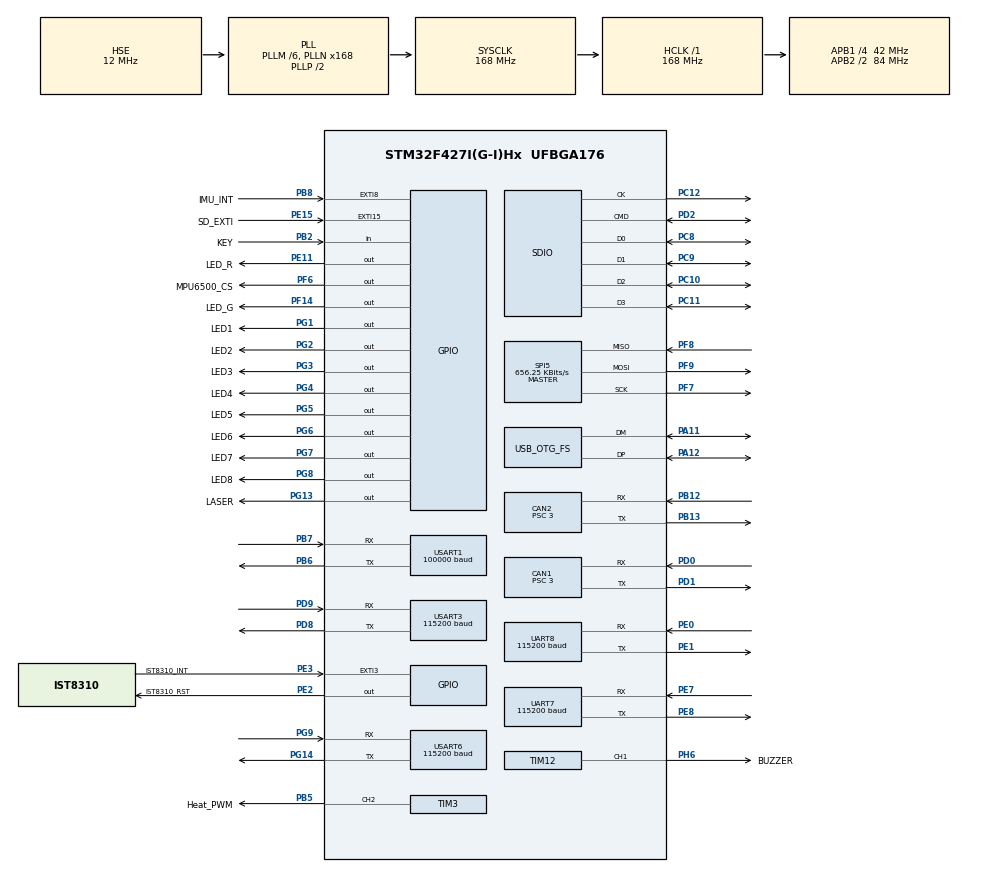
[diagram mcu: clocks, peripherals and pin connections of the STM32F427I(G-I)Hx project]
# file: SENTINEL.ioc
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CAN1.BS1=CAN_BS1_10TQ
CAN1.BS2=CAN_BS2_3TQ
CAN1.CalculateBaudRate=1000000
CAN1.CalculateTimeQuantum=71.42857142857143
CAN1.Prescaler=3
CAN2.BS1=CAN_BS1_10TQ
CAN2.BS2=CAN_BS2_3TQ
CAN2.CalculateBaudRate=1000000
CAN2.CalculateTimeQuantum=71.42857142857143
CAN2.Prescaler=3
Dma.Request0=USART1_RX
Dma.Request1=UART7_RX
Dma.Request2=UART7_TX
Dma.Request3=SDIO_RX
Dma.Request4=SDIO_TX
Dma.Request5=SPI5_RX
Dma.Request6=SPI5_TX
Dma.SDIO_RX.3.Direction=DMA_PERIPH_TO_MEMORY
Dma.SDIO_RX.3.FIFOMode=DMA_FIFOMODE_DISABLE
Dma.SDIO_RX.3.Instance=DMA2_Stream3
Dma.SDIO_RX.3.MemDataAlignment=DMA_MDATAALIGN_WORD
Dma.SDIO_RX.3.MemInc=DMA_MINC_ENABLE
Dma.SDIO_RX.3.Mode=DMA_PFCTRL
Dma.SDIO_RX.3.PeriphDataAlignment=DMA_PDATAALIGN_WORD
Dma.SDIO_RX.3.PeriphInc=DMA_PINC_DISABLE
Dma.SDIO_RX.3.Priority=DMA_PRIORITY_VERY_HIGH
Dma.SDIO_TX.4.Direction=DMA_MEMORY_TO_PERIPH
Dma.SDIO_TX.4.FIFOMode=DMA_FIFOMODE_DISABLE
Dma.SDIO_TX.4.Instance=DMA2_Stream6
Dma.SDIO_TX.4.MemDataAlignment=DMA_MDATAALIGN_WORD
Dma.SDIO_TX.4.MemInc=DMA_MINC_ENABLE
Dma.SDIO_TX.4.Mode=DMA_PFCTRL
Dma.SDIO_TX.4.PeriphDataAlignment=DMA_PDATAALIGN_WORD
Dma.SDIO_TX.4.PeriphInc=DMA_PINC_DISABLE
Dma.SDIO_TX.4.Priority=DMA_PRIORITY_VERY_HIGH
Dma.UART7_RX.1.Direction=DMA_PERIPH_TO_MEMORY
Dma.UART7_RX.1.FIFOMode=DMA_FIFOMODE_DISABLE
Dma.UART7_RX.1.Instance=DMA1_Stream3
Dma.UART7_RX.1.MemDataAlignment=DMA_MDATAALIGN_BYTE
Dma.UART7_RX.1.MemInc=DMA_MINC_ENABLE
Dma.UART7_RX.1.Mode=DMA_CIRCULAR
Dma.UART7_RX.1.PeriphDataAlignment=DMA_PDATAALIGN_BYTE
Dma.UART7_RX.1.PeriphInc=DMA_PINC_DISABLE
Dma.UART7_RX.1.Priority=DMA_PRIORITY_HIGH
Dma.UART7_TX.2.Direction=DMA_MEMORY_TO_PERIPH
Dma.UART7_TX.2.FIFOMode=DMA_FIFOMODE_DISABLE
Dma.UART7_TX.2.Instance=DMA1_Stream1
Dma.UART7_TX.2.MemDataAlignment=DMA_MDATAALIGN_BYTE
Dma.UART7_TX.2.MemInc=DMA_MINC_ENABLE
Dma.UART7_TX.2.Mode=DMA_NORMAL
Dma.UART7_TX.2.PeriphDataAlignment=DMA_PDATAALIGN_BYTE
Dma.UART7_TX.2.PeriphInc=DMA_PINC_DISABLE
Dma.UART7_TX.2.Priority=DMA_PRIORITY_HIGH
Dma.USART1_RX.0.Direction=DMA_PERIPH_TO_MEMORY
Dma.USART1_RX.0.FIFOMode=DMA_FIFOMODE_DISABLE
Dma.USART1_RX.0.Instance=DMA2_Stream2
Dma.USART1_RX.0.MemDataAlignment=DMA_MDATAALIGN_BYTE
Dma.USART1_RX.0.MemInc=DMA_MINC_ENABLE
Dma.USART1_RX.0.Mode=DMA_NORMAL
Dma.USART1_RX.0.PeriphDataAlignment=DMA_PDATAALIGN_BYTE
Dma.USART1_RX.0.PeriphInc=DMA_PINC_DISABLE
Dma.USART1_RX.0.Priority=DMA_PRIORITY_VERY_HIGH
Dma.SPI5_RX.5.Direction=DMA_PERIPH_TO_MEMORY
Dma.SPI5_RX.5.FIFOMode=DMA_FIFOMODE_DISABLE
Dma.SPI5_RX.5.Instance=DMA2_Stream5
Dma.SPI5_RX.5.MemDataAlignment=DMA_MDATAALIGN_BYTE
Dma.SPI5_RX.5.MemInc=DMA_MINC_ENABLE
Dma.SPI5_RX.5.Mode=DMA_NORMAL
Dma.SPI5_RX.5.PeriphDataAlignment=DMA_PDATAALIGN_BYTE
Dma.SPI5_RX.5.PeriphInc=DMA_PINC_DISABLE
Dma.SPI5_RX.5.Priority=DMA_PRIORITY_HIGH
Dma.SPI5_TX.6.Direction=DMA_MEMORY_TO_PERIPH
Dma.SPI5_TX.6.FIFOMode=DMA_FIFOMODE_DISABLE
Dma.SPI5_TX.6.Instance=DMA2_Stream4
Dma.SPI5_TX.6.MemDataAlignment=DMA_MDATAALIGN_BYTE
Dma.SPI5_TX.6.MemInc=DMA_MINC_ENABLE
Dma.SPI5_TX.6.Mode=DMA_NORMAL
Dma.SPI5_TX.6.PeriphDataAlignment=DMA_PDATAALIGN_BYTE
Dma.SPI5_TX.6.PeriphInc=DMA_PINC_DISABLE
Dma.SPI5_TX.6.Priority=DMA_PRIORITY_HIGH
FREERTOS.INCLUDE_eTaskGetState=1
FREERTOS.INCLUDE_pcTaskGetTaskName=1
FREERTOS.INCLUDE_uxTaskGetStackHighWaterMark=1
FREERTOS.INCLUDE_vTaskCleanUpResources=1
FREERTOS.INCLUDE_vTaskDelayUntil=1
FREERTOS.INCLUDE_xEventGroupSetBitFromISR=1
FREERTOS.INCLUDE_xQueueGetMutexHolder=1
FREERTOS.INCLUDE_xSemaphoreGetMutexHolder=1
FREERTOS.INCLUDE_xTaskAbortDelay=1
FREERTOS.INCLUDE_xTaskGetCurrentTaskHandle=1
FREERTOS.INCLUDE_xTaskGetHandle=1
FREERTOS.INCLUDE_xTimerPendFunctionCall=1
FREERTOS.Tasks01=defaultTask,0,256,StartDefaultTask,Default,NULL,Dynamic,NULL,NULL
FREERTOS.configTOTAL_HEAP_SIZE=40960
Mcu.Family=STM32F4
Mcu.Name=STM32F427I(G-I)Hx
Mcu.Package=UFBGA176
NVIC.CAN1_RX0_IRQn=true\:6\:0\:true\:false\:true\:true\:true\:true\:true
NVIC.CAN2_RX0_IRQn=true\:6\:0\:true\:false\:true\:true\:true\:true\:true
NVIC.DMA1_Stream1_IRQn=true\:5\:0\:true\:false\:false\:true\:false\:false\:true
NVIC.DMA1_Stream3_IRQn=true\:5\:0\:true\:false\:false\:true\:false\:true\:true
NVIC.DMA2_Stream3_IRQn=true\:5\:0\:true\:false\:false\:true\:false\:true\:true
NVIC.DMA2_Stream5_IRQn=true\:5\:0\:false\:false\:true\:true\:false\:true\:true
NVIC.DMA2_Stream6_IRQn=true\:5\:0\:true\:false\:true\:true\:false\:true\:true
NVIC.EXTI15_10_IRQn=true\:5\:0\:true\:false\:true\:true\:true\:true\:true
NVIC.EXTI3_IRQn=true\:5\:0\:true\:false\:true\:true\:true\:true\:true
NVIC.EXTI9_5_IRQn=true\:5\:0\:true\:false\:true\:true\:true\:true\:true
NVIC.OTG_FS_IRQn=true\:5\:0\:false\:false\:true\:true\:false\:true\:true
NVIC.PriorityGroup=NVIC_PRIORITYGROUP_4
NVIC.SDIO_IRQn=true\:5\:0\:false\:false\:true\:true\:true\:true\:true
NVIC.TIM6_DAC_IRQn=true\:15\:0\:false\:false\:true\:false\:false\:true\:true
NVIC.TimeBase=TIM6_DAC_IRQn
NVIC.TimeBaseIP=TIM6
NVIC.UART7_IRQn=true\:5\:0\:true\:false\:true\:false\:true\:true\:true
NVIC.USART1_IRQn=true\:5\:0\:false\:false\:true\:true\:true\:true\:true
PA11.Mode=Device_Only
PA11.Signal=USB_OTG_FS_DM
PA12.Mode=Device_Only
PA12.Signal=USB_OTG_FS_DP
PA13.Mode=Serial_Wire
PA13.Signal=SYS_JTMS-SWDIO
PA14.Mode=Serial_Wire
PA14.Signal=SYS_JTCK-SWCLK
PB12.Mode=CAN_Activate
PB12.Signal=CAN2_RX
PB13.Mode=CAN_Activate
PB13.Signal=CAN2_TX
PB2/BOOT1.GPIO_Label=KEY
PB2/BOOT1.GPIO_PuPd=GPIO_PULLDOWN
PB2/BOOT1.Signal=GPIO_Input
PB5.GPIO_Label=Heat_PWM
PB5.GPIO_PuPd=GPIO_NOPULL
PB5.GPIO_Speed=GPIO_SPEED_FREQ_LOW
PB5.Signal=S_TIM3_CH2
PB6.Mode=Asynchronous
PB6.Signal=USART1_TX
PB7.Mode=Asynchronous
PB7.Signal=USART1_RX
PB8.GPIO_Label=IMU_INT
PB8.GPIO_ModeDefaultEXTI=GPIO_MODE_IT_RISING
PB8.GPIO_PuPd=GPIO_PULLUP
PB8.Signal=GPXTI8
PC10.GPIO_PuPd=GPIO_PULLUP
PC10.GPIO_Speed=GPIO_SPEED_FREQ_VERY_HIGH
PC10.Mode=SD_4_bits_Wide_bus
PC10.Signal=SDIO_D2
PC11.GPIO_PuPd=GPIO_PULLUP
PC11.GPIO_Speed=GPIO_SPEED_FREQ_VERY_HIGH
PC11.Mode=SD_4_bits_Wide_bus
PC11.Signal=SDIO_D3
PC12.GPIO_PuPd=GPIO_PULLUP
PC12.GPIO_Speed=GPIO_SPEED_FREQ_VERY_HIGH
PC12.Mode=SD_4_bits_Wide_bus
PC12.Signal=SDIO_CK
PC8.GPIO_PuPd=GPIO_PULLUP
PC8.GPIO_Speed=GPIO_SPEED_FREQ_VERY_HIGH
PC8.Mode=SD_4_bits_Wide_bus
PC8.Signal=SDIO_D0
PC9.GPIO_PuPd=GPIO_PULLUP
PC9.GPIO_Speed=GPIO_SPEED_FREQ_VERY_HIGH
PC9.Mode=SD_4_bits_Wide_bus
PC9.Signal=SDIO_D1
PD0.Mode=CAN_Activate
PD0.Signal=CAN1_RX
PD1.Mode=CAN_Activate
PD1.Signal=CAN1_TX
PD2.GPIO_PuPd=GPIO_PULLUP
PD2.GPIO_Speed=GPIO_SPEED_FREQ_VERY_HIGH
PD2.Mode=SD_4_bits_Wide_bus
PD2.Signal=SDIO_CMD
PD8.GPIO_PuPd=GPIO_PULLUP
PD8.Mode=Asynchronous
PD8.Signal=USART3_TX
PD9.GPIO_PuPd=GPIO_PULLUP
PD9.Mode=Asynchronous
PD9.Signal=USART3_RX
PE0.GPIO_PuPd=GPIO_PULLUP
PE0.Mode=Asynchronous
PE0.Signal=UART8_RX
PE1.GPIO_PuPd=GPIO_PULLUP
PE1.Mode=Asynchronous
PE1.Signal=UART8_TX
PE11.GPIO_Label=LED_R
PE11.GPIO_PuPd=GPIO_NOPULL
PE11.GPIO_Speed=GPIO_SPEED_FREQ_LOW
PE11.PinState=GPIO_PIN_SET
PE11.Signal=GPIO_Output
PE15.GPIO_Label=SD_EXTI
PE15.GPIO_ModeDefaultEXTI=GPIO_MODE_IT_RISING_FALLING
PE15.GPIO_PuPd=GPIO_PULLUP
PE15.Signal=GPXTI15
PE2.GPIO_Label=IST8310_RST
PE2.GPIO_PuPd=GPIO_NOPULL
PE2.GPIO_Speed=GPIO_SPEED_FREQ_LOW
PE2.PinState=GPIO_PIN_SET
PE2.Signal=GPIO_Output
PE3.GPIO_Label=IST8310_INT
PE3.GPIO_ModeDefaultEXTI=GPIO_MODE_IT_FALLING
PE3.GPIO_PuPd=GPIO_PULLUP
PE3.Signal=GPXTI3
PE7.GPIO_PuPd=GPIO_PULLUP
PE7.Mode=Asynchronous
PE7.Signal=UART7_RX
PE8.GPIO_PuPd=GPIO_PULLUP
PE8.Mode=Asynchronous
PE8.Signal=UART7_TX
PF14.GPIO_Label=LED_G
PF14.GPIO_PuPd=GPIO_NOPULL
PF14.GPIO_Speed=GPIO_SPEED_FREQ_LOW
PF14.PinState=GPIO_PIN_SET
PF14.Signal=GPIO_Output
PF6.GPIO_Label=MPU6500_CS
PF6.GPIO_PuPd=GPIO_PULLUP
PF6.GPIO_Speed=GPIO_SPEED_FREQ_MEDIUM
PF6.PinState=GPIO_PIN_SET
PF6.Signal=GPIO_Output
PF7.GPIO_PuPd=GPIO_NOPULL
PF7.Mode=Full_Duplex_Master
PF7.Signal=SPI5_SCK
PF8.GPIO_PuPd=GPIO_NOPULL
PF8.Mode=Full_Duplex_Master
PF8.Signal=SPI5_MISO
PF9.GPIO_PuPd=GPIO_NOPULL
PF9.Mode=Full_Duplex_Master
PF9.Signal=SPI5_MOSI
PG1.GPIO_Label=LED1
PG1.GPIO_PuPd=GPIO_NOPULL
PG1.GPIO_Speed=GPIO_SPEED_FREQ_LOW
PG1.PinState=GPIO_PIN_SET
PG1.Signal=GPIO_Output
PG13.GPIO_Label=LASER
PG13.GPIO_PuPd=GPIO_NOPULL
PG13.GPIO_Speed=GPIO_SPEED_FREQ_LOW
PG13.PinState=GPIO_PIN_RESET
PG13.Signal=GPIO_Output
PG14.GPIO_PuPd=GPIO_PULLUP
PG14.Mode=Asynchronous
PG14.Signal=USART6_TX
PG2.GPIO_Label=LED2
PG2.GPIO_PuPd=GPIO_NOPULL
PG2.GPIO_Speed=GPIO_SPEED_FREQ_LOW
PG2.PinState=GPIO_PIN_SET
PG2.Signal=GPIO_Output
PG3.GPIO_Label=LED3
PG3.GPIO_PuPd=GPIO_NOPULL
PG3.GPIO_Speed=GPIO_SPEED_FREQ_LOW
PG3.PinState=GPIO_PIN_SET
PG3.Signal=GPIO_Output
PG4.GPIO_Label=LED4
PG4.GPIO_PuPd=GPIO_NOPULL
PG4.GPIO_Speed=GPIO_SPEED_FREQ_LOW
PG4.PinState=GPIO_PIN_SET
PG4.Signal=GPIO_Output
PG5.GPIO_Label=LED5
PG5.GPIO_PuPd=GPIO_NOPULL
PG5.GPIO_Speed=GPIO_SPEED_FREQ_LOW
PG5.PinState=GPIO_PIN_SET
PG5.Signal=GPIO_Output
PG6.GPIO_Label=LED6
PG6.GPIO_PuPd=GPIO_NOPULL
PG6.GPIO_Speed=GPIO_SPEED_FREQ_LOW
PG6.PinState=GPIO_PIN_SET
PG6.Signal=GPIO_Output
PG7.GPIO_Label=LED7
PG7.GPIO_PuPd=GPIO_NOPULL
PG7.GPIO_Speed=GPIO_SPEED_FREQ_LOW
PG7.PinState=GPIO_PIN_SET
PG7.Signal=GPIO_Output
PG8.GPIO_Label=LED8
PG8.GPIO_PuPd=GPIO_NOPULL
PG8.GPIO_Speed=GPIO_SPEED_FREQ_LOW
PG8.PinState=GPIO_PIN_SET
PG8.Signal=GPIO_Output
PG9.GPIO_PuPd=GPIO_PULLUP
PG9.Mode=Asynchronous
PG9.Signal=USART6_RX
PH0/OSC_IN.Mode=HSE-External-Oscillator
PH0/OSC_IN.Signal=RCC_OSC_IN
PH1/OSC_OUT.Mode=HSE-External-Oscillator
PH1/OSC_OUT.Signal=RCC_OSC_OUT
PH6.GPIO_Label=BUZZER
PH6.GPIO_PuPd=GPIO_NOPULL
PH6.GPIO_Speed=GPIO_SPEED_FREQ_VERY_HIGH
PH6.Signal=S_TIM12_CH1
ProjectManager.HeapSize=0x200
ProjectManager.StackSize=0x400
ProjectManager.TargetToolchain=MDK-ARM V5
RCC.48MHZClocksFreq_Value=48000000
RCC.AHBFreq_Value=168000000
RCC.APB1CLKDivider=RCC_HCLK_DIV4
RCC.APB1Freq_Value=42000000
RCC.APB1TimFreq_Value=84000000
RCC.APB2CLKDivider=RCC_HCLK_DIV2
RCC.APB2Freq_Value=84000000
RCC.APB2TimFreq_Value=168000000
RCC.CortexFreq_Value=168000000
RCC.HCLKFreq_Value=168000000
RCC.HSE_VALUE=12000000
RCC.HSI_VALUE=16000000
RCC.LSE_VALUE=32768
RCC.PLLM=6
RCC.PLLN=168
RCC.PLLQ=7
RCC.SYSCLKFreq_VALUE=168000000
RCC.SYSCLKSource=RCC_SYSCLKSOURCE_PLLCLK
RCC.VCOOutputFreq_Value=336000000
SDIO.ClockDiv=0
SH.S_TIM12_CH1.0=TIM12_CH1,PWM Generation1 CH1
SH.S_TIM3_CH2.0=TIM3_CH2,PWM Generation2 CH2
SPI5.BaudRatePrescaler=SPI_BAUDRATEPRESCALER_128
SPI5.CLKPhase=SPI_PHASE_1EDGE
SPI5.CLKPolarity=SPI_POLARITY_LOW
SPI5.CalculateBaudRate=656.25 KBits/s
SPI5.Direction=SPI_DIRECTION_2LINES
SPI5.Mode=SPI_MODE_MASTER
SPI5.VirtualType=VM_MASTER
TIM12.Channel-PWM\ Generation1\ CH1=TIM_CHANNEL_1
TIM12.Period=369
TIM12.Prescaler=83
TIM12.Pulse-PWM\ Generation1\ CH1=0
TIM3.Channel-PWM\ Generation2\ CH2=TIM_CHANNEL_2
TIM3.Period=49
TIM3.Prescaler=83
TIM3.Pulse-PWM\ Generation2\ CH2=0
UART7.BaudRate=115200
UART7.VirtualMode=Asynchronous
UART8.BaudRate=115200
UART8.VirtualMode=Asynchronous
USART1.BaudRate=100000
USART1.Parity=PARITY_EVEN
USART1.VirtualMode=VM_ASYNC
USART3.BaudRate=115200
USART3.VirtualMode=VM_ASYNC
USART6.BaudRate=115200
USART6.VirtualMode=VM_ASYNC
USB_DEVICE.CLASS_NAME_FS=CDC
USB_DEVICE.VirtualMode-CDC_FS=Cdc
USB_DEVICE.VirtualModeFS=Cdc_FS
USB_OTG_FS.VirtualMode=Device_Only
VP_FREERTOS_VS_CMSIS_V1.Mode=CMSIS_V1
VP_SYS_VS_tim6.Mode=TIM6
VP_USB_DEVICE_VS_USB_DEVICE_CDC_FS.Mode=CDC_FS
board=custom

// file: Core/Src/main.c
/* USER CODE BEGIN Header */
/**
  ******************************************************************************
  * @file           : main.c
  * @brief          : Main program body
  ******************************************************************************
  * @attention
  *
  * Copyright (c) 2026 STMicroelectronics.
  * All rights reserved.
  *
  * This software is licensed under terms that can be found in the LICENSE file
  * in the root directory of this software component.
  * If no LICENSE file comes with this software, it is provided AS-IS.
  *
  ******************************************************************************
  */
/* USER CODE END Header */
#include "main.h"
#include "cmsis_os.h"
#include "can.h"
#include "dma.h"
#include "sdio.h"
#include "spi.h"
#include "tim.h"
#include "usart.h"
#include "usb_device.h"
#include "gpio.h"

/* USER CODE BEGIN Includes */
#include "config.h"
#include "bsp_buzzer.h"
#include "bsp_can.h"
#include "remote_control.h"

/* USER CODE END Includes */

void SystemClock_Config(void);
void MX_FREERTOS_Init(void);

int main(void)
{

  /* MCU Configuration--------------------------------------------------------*/

  /* Reset of all peripherals, Initializes the Flash interface and the Systick. */
  HAL_Init();

  /* Configure the system clock */
  SystemClock_Config();

  /* Initialize all configured peripherals */
  MX_GPIO_Init();
  MX_DMA_Init();
  MX_CAN1_Init();
  MX_CAN2_Init();
  MX_USART1_UART_Init();
  MX_USART3_UART_Init();
  MX_USART6_UART_Init();
  MX_UART7_Init();
  MX_UART8_Init();
  MX_SPI5_Init();
  MX_SDIO_SD_Init();
  MX_TIM3_Init();
  MX_TIM12_Init();
  /* USER CODE BEGIN 2 */
  can_filter_init();
  buzzer_set_enable(g_config.buzzer.enable);
  remote_control_init();

  /* USER CODE END 2 */

  /* Call init function for freertos objects (in cmsis_os2.c) */
  MX_FREERTOS_Init();

  /* Start scheduler */
  osKernelStart();

  /* We should never get here as control is now taken by the scheduler */

  /* Infinite loop */
  while (1)
  {

  }
}

void SystemClock_Config(void)
{
  RCC_OscInitTypeDef RCC_OscInitStruct = {0};
  RCC_ClkInitTypeDef RCC_ClkInitStruct = {0};

  /** Configure the main internal regulator output voltage
  */
  __HAL_RCC_PWR_CLK_ENABLE();
  __HAL_PWR_VOLTAGESCALING_CONFIG(PWR_REGULATOR_VOLTAGE_SCALE1);

  /** Initializes the RCC Oscillators according to the specified parameters
  * in the RCC_OscInitTypeDef structure.
  */
  RCC_OscInitStruct.OscillatorType = RCC_OSCILLATORTYPE_HSE;
  RCC_OscInitStruct.HSEState = RCC_HSE_ON;
  RCC_OscInitStruct.PLL.PLLState = RCC_PLL_ON;
  RCC_OscInitStruct.PLL.PLLSource = RCC_PLLSOURCE_HSE;
  RCC_OscInitStruct.PLL.PLLM = 6;
  RCC_OscInitStruct.PLL.PLLN = 168;
  RCC_OscInitStruct.PLL.PLLP = RCC_PLLP_DIV2;
  RCC_OscInitStruct.PLL.PLLQ = 7;
  if (HAL_RCC_OscConfig(&RCC_OscInitStruct) != HAL_OK)
  {
    Error_Handler();
  }

  /** Initializes the CPU, AHB and APB buses clocks
  */
  RCC_ClkInitStruct.ClockType = RCC_CLOCKTYPE_HCLK|RCC_CLOCKTYPE_SYSCLK
                              |RCC_CLOCKTYPE_PCLK1|RCC_CLOCKTYPE_PCLK2;
  RCC_ClkInitStruct.SYSCLKSource = RCC_SYSCLKSOURCE_PLLCLK;
  RCC_ClkInitStruct.AHBCLKDivider = RCC_SYSCLK_DIV1;
  RCC_ClkInitStruct.APB1CLKDivider = RCC_HCLK_DIV4;
  RCC_ClkInitStruct.APB2CLKDivider = RCC_HCLK_DIV2;

  if (HAL_RCC_ClockConfig(&RCC_ClkInitStruct, FLASH_LATENCY_5) != HAL_OK)
  {
    Error_Handler();
  }
}

void HAL_TIM_PeriodElapsedCallback(TIM_HandleTypeDef *htim)
{
  if (htim->Instance == TIM6)
  {
    HAL_IncTick();
  }
}

void Error_Handler(void)
{
  __disable_irq();
  while (1)
  {
  }
}

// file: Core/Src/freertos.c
/* USER CODE BEGIN Header */
/**
  ******************************************************************************
  * File Name          : freertos.c
  * Description        : Code for freertos applications
  ******************************************************************************
  * @attention
  *
  * Copyright (c) 2026 STMicroelectronics.
  * All rights reserved.
  *
  * This software is licensed under terms that can be found in the LICENSE file
  * in the root directory of this software component.
  * If no LICENSE file comes with this software, it is provided AS-IS.
  *
  ******************************************************************************
  */
/* USER CODE END Header */

#include "FreeRTOS.h"
#include "task.h"
#include "main.h"
#include "cmsis_os.h"

/* USER CODE BEGIN Includes */
#include "rc_sbus_task.h"
#include "detect_task.h"
#include "sdlog_task.h"
#include "can_feedback_rx_task.h"
#include "can_command_tx_task.h"
#include "chassis_control_task.h"
#include "gimbal_control_task.h"
#include "INS_task.h"

/* USER CODE END Includes */

/* USER CODE BEGIN PTD */
osThreadId rcSbusTaskHandle;
osThreadId detectTaskHandle;
osThreadId sdlogTaskHandle;
osThreadId canRxTaskHandle;
osThreadId canTxTaskHandle;
osThreadId chassisTaskHandle;
osThreadId gimbalTaskHandle;
osThreadId imuTaskHandle;

/* USER CODE END PTD */

osThreadId defaultTaskHandle;

void StartDefaultTask(void const * argument);

extern void MX_USB_DEVICE_Init(void);
void MX_FREERTOS_Init(void); /* (MISRA C 2004 rule 8.1) */

/* GetIdleTaskMemory prototype (linked to static allocation support) */
void vApplicationGetIdleTaskMemory( StaticTask_t **ppxIdleTaskTCBBuffer, StackType_t **ppxIdleTaskStackBuffer, uint32_t *pulIdleTaskStackSize );

/* GetTimerTaskMemory prototype (linked to static allocation support) */
void vApplicationGetTimerTaskMemory( StaticTask_t **ppxTimerTaskTCBBuffer, StackType_t **ppxTimerTaskStackBuffer, uint32_t *pulTimerTaskStackSize );

/* USER CODE BEGIN GET_IDLE_TASK_MEMORY */
static StaticTask_t xIdleTaskTCBBuffer;
static StackType_t xIdleStack[configMINIMAL_STACK_SIZE];

void vApplicationGetIdleTaskMemory( StaticTask_t **ppxIdleTaskTCBBuffer, StackType_t **ppxIdleTaskStackBuffer, uint32_t *pulIdleTaskStackSize )
{
  *ppxIdleTaskTCBBuffer = &xIdleTaskTCBBuffer;
  *ppxIdleTaskStackBuffer = &xIdleStack[0];
  *pulIdleTaskStackSize = configMINIMAL_STACK_SIZE;
  /* place for user code */
}
/* USER CODE END GET_IDLE_TASK_MEMORY */

/* USER CODE BEGIN GET_TIMER_TASK_MEMORY */
static StaticTask_t xTimerTaskTCBBuffer;
static StackType_t xTimerStack[configTIMER_TASK_STACK_DEPTH];

void vApplicationGetTimerTaskMemory( StaticTask_t **ppxTimerTaskTCBBuffer, StackType_t **ppxTimerTaskStackBuffer, uint32_t *pulTimerTaskStackSize )
{
  *ppxTimerTaskTCBBuffer = &xTimerTaskTCBBuffer;
  *ppxTimerTaskStackBuffer = &xTimerStack[0];
  *pulTimerTaskStackSize = configTIMER_TASK_STACK_DEPTH;
  /* place for user code */
}
/* USER CODE END GET_TIMER_TASK_MEMORY */

void MX_FREERTOS_Init(void) {

  /* Create the thread(s) */
  /* definition and creation of defaultTask */
  // CubeMX default task: runs MX_USB_DEVICE_Init(). USB init uses noticeable stack,
  // keep this consistent with HERO to avoid overflow.
  osThreadDef(defaultTask, StartDefaultTask, osPriorityNormal, 0, 512);
  defaultTaskHandle = osThreadCreate(osThread(defaultTask), NULL);

  /* USER CODE BEGIN RTOS_THREADS */
  osThreadDef(rcSbusTask, rc_sbus_task, osPriorityAboveNormal, 0, 256);
  rcSbusTaskHandle = osThreadCreate(osThread(rcSbusTask), NULL);

  osThreadDef(detectTask, detect_task, osPriorityNormal, 0, 256);
  detectTaskHandle = osThreadCreate(osThread(detectTask), NULL);

  osThreadDef(sdlogTask, sdlog_task, osPriorityLow, 0, 512);
  sdlogTaskHandle = osThreadCreate(osThread(sdlogTask), NULL);

  osThreadDef(canTxTask, can_command_tx_task, osPriorityAboveNormal, 0, 256);
  canTxTaskHandle = osThreadCreate(osThread(canTxTask), NULL);

  osThreadDef(canRxTask, can_feedback_rx_task, osPriorityHigh, 0, 256);
  canRxTaskHandle = osThreadCreate(osThread(canRxTask), NULL);

  osThreadDef(chassisTask, chassis_control_task, osPriorityAboveNormal, 0, 512);
  chassisTaskHandle = osThreadCreate(osThread(chassisTask), NULL);

  osThreadDef(gimbalTask, gimbal_control_task, osPriorityHigh, 0, 512);
  gimbalTaskHandle = osThreadCreate(osThread(gimbalTask), NULL);

  osThreadDef(imuTask, INS_task, osPriorityRealtime, 0, 1024);
  imuTaskHandle = osThreadCreate(osThread(imuTask), NULL);
  /* USER CODE END RTOS_THREADS */

}

void StartDefaultTask(void const * argument)
{
  /* init code for USB_DEVICE */
  MX_USB_DEVICE_Init();
  for(;;)
  {
    osDelay(1);
  }
}
